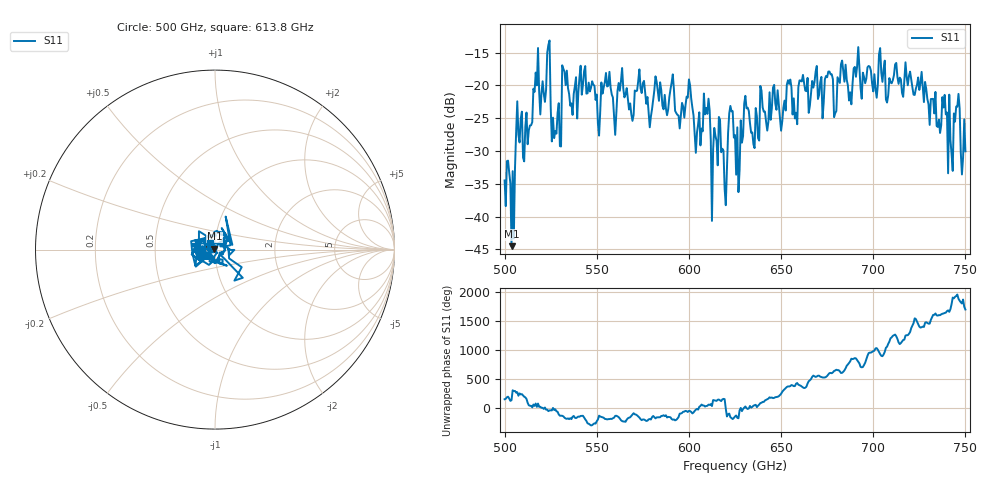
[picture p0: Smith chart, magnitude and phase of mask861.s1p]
!Created with skrf (http://scikit-rf.org).
# GHz S MA R 50.0
!freq magS11 angS11
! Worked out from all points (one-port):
!   401 points, 500 GHz to 750 GHz, reference 50 ohm
!   lowest |S11| = -44.5 dB at 503.8 GHz (marker M1), VSWR 1.01, Z = 49.6 + j0.455 ohm
!   |S11| at or under -10 dB: start of sweep to end of sweep
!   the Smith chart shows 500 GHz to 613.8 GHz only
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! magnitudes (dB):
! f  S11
! 500 GHz  -34.5
! 503.8 GHz  -44.5
! 507.5 GHz  -27.5
! 513.8 GHz  -26.1
! 516.9 GHz  -18.0
! 523.8 GHz  -13.8
! 526.9 GHz  -28.0
! 531.2 GHz  -16.9
! 542.5 GHz  -19.9
! 550.6 GHz  -25.8
! 555.6 GHz  -20.1
! 559.4 GHz  -24.8
! 562.5 GHz  -20.8
! 568.8 GHz  -24.4
! 590.6 GHz  -19.5
! 593.8 GHz  -24.5
! 609.4 GHz  -23.4
! 619.4 GHz  -35.8
! 622.5 GHz  -23.1
! 625 GHz  -27.5
! 656.2 GHz  -24.4
! 687.5 GHz  -21.0
! 690.6 GHz  -18.7
! 718.8 GHz  -20.0
! 738.8 GHz  -21.4
! 741.9 GHz  -28.2
! 745.6 GHz  -23.2
! 750 GHz  -30.0
